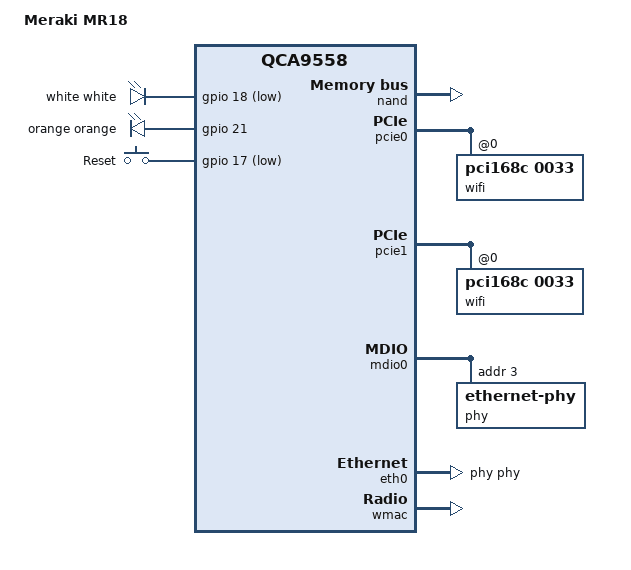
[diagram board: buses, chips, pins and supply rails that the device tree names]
// SPDX-License-Identifier: GPL-2.0-or-later OR MIT

#include "qca955x.dtsi"

#include <dt-bindings/gpio/gpio.h>
#include <dt-bindings/input/input.h>
#include <dt-bindings/leds/common.h>

/ {
	compatible = "meraki,mr18", "qca,qca9558";
	model = "Meraki MR18";

	aliases {
		label-mac-device = &eth0;
		led-boot = &white;
		led-failsafe = &orange;
		led-running = &green;
		led-upgrade = &white;
	};

	leds {
		compatible = "gpio-leds";

		white: white {
			function = LED_FUNCTION_POWER;
			color = <LED_COLOR_ID_WHITE>;
			gpios = <&gpio 18 GPIO_ACTIVE_LOW>;
		};

		orange: orange {
			function = LED_FUNCTION_POWER;
			color = <LED_COLOR_ID_ORANGE>;
			gpios = <&gpio 21 GPIO_ACTIVE_HIGH>;
			panic-indicator;
		};
	};

	uleds {
		compatible = "virtual-leds";
#if 0
		/*
		 * RGB leds are not supported by uleds driver.
		 * but this is what the definitions for a as
		 * of yet unwritten leds_nu801 would look like.
		 */

		rgbled-0 {
			function = LED_FUNCTION_POWER;
			color = <LED_COLOR_ID_RGB>;
			#address-cells = <1>;
			#size-cells = <0>;

			led@0 {
				reg = <0>;
				color = <LED_COLOR_ID_RED>;
			};

			green: led@1 {
				reg = <1>;
				color = <LED_COLOR_ID_GREEN>;
			};

			led@2 {
				reg = <2>;
				color = <LED_COLOR_ID_BLUE>;
			};
		};

#else
		red {
			color = <LED_COLOR_ID_RED>;
		};

		green: green {
			color = <LED_COLOR_ID_GREEN>;
		};

		blue {
			color = <LED_COLOR_ID_BLUE>;
		};
#endif
	};

	button {
		compatible = "gpio-keys";

		reset {
			label = "Reset";
			linux,code = <KEY_RESTART>;
			gpios = <&gpio 17 GPIO_ACTIVE_LOW>;
			debounce-interval = <60>;
		};

	};
};

&nand {
	status = "okay";

	nand-ecc-mode = "soft";
	nand-ecc-algo = "bch";
	nand-ecc-strength = <4>;
	nand-ecc-step-size = <512>;
	nand-is-boot-medium;

	partitions {
		compatible = "fixed-partitions";
		#address-cells = <1>;
		#size-cells = <1>;

		partition@0 {
			label = "nandloader";
			reg = <0x0 0x80000>;
			read-only;
		};

		partition@80000 {
			label = "kernel";
			reg = <0x80000 0x800000>;
		};

		partition@880000 {
			label = "recovery";
			reg = <0x880000 0x800000>;
		};

		partition@1080000 {
			label = "ubi";
			reg = <0x1080000 0x6f00000>;

			volumes {
				ubi-volume-board-config {
					volname = "board-config";

					nvmem-layout {
						compatible = "fixed-layout";
						#address-cells = <1>;
						#size-cells = <1>;

						macaddr_board_102: macaddr@102 {
							compatible = "mac-base";
							reg = <0x102 0x6>;
							#nvmem-cell-cells = <1>;
						};
					};
				};

				ubi-volume-caldata {
					volname = "caldata";

					nvmem-layout {
						compatible = "fixed-layout";
						#address-cells = <1>;
						#size-cells = <1>;

						cal_data_1000: cal@1000 {
							reg = <0x1000 0x440>;
						};

						cal_data_5000: cal@5000 {
							reg = <0x5000 0x440>;
						};

						cal_data_9000: cal@9000 {
							reg = <0x9000 0x440>;
						};
					};
				};
			};
		};

		partition@7fe0000 {
			/*
			 * This is not always present. And if
			 * it is, then Meraki (or contractor)
			 * used a different ecc method than
			 * the one we need for the UBI partition.
			 * Reading this causes various reading
			 * errors.
			 *
			 * As a result: Please don't convert
			 * this to nvmem-cells. Instead there's
			 * a ubi-volume "caldata" that has the
			 * necessary data.
			 */

			label = "odm-caldata";
			reg = <0x7fe0000 0x20000>;
			read-only;
		};
	};
};

&pcie0 {
	status = "okay";

	wifi@0,0 {
		compatible = "pci168c,0033";
		reg = <0x0000 0 0 0 0>;

		nvmem-cells = <&macaddr_board_102 2>, <&cal_data_5000>;
		nvmem-cell-names = "mac-address", "calibration";
	};
};

&pcie1 {
	status = "okay";

	wifi@0,0 {
		compatible = "pci168c,0033";
		reg = <0x0000 0 0 0 0>;

		nvmem-cells = <&macaddr_board_102 3>, <&cal_data_9000>;
		nvmem-cell-names = "mac-address", "calibration";
	};
};

&mdio0 {
	status = "okay";

	phy: ethernet-phy@3 {
		reg = <3>;
	};
};

&eth0 {
	status = "okay";
	pll-data = <0xa6000000 0xa0000101 0x80001313>;
	phy-handle = <&phy>;

	nvmem-cells = <&macaddr_board_102 0>;
	nvmem-cell-names = "mac-address";

	gmac-config {
		device = <&gmac>;
		rgmii-enabled = <1>;
		rxd-delay = <3>;
		rxdv-delay = <3>;
	};
};

&wmac {
	status = "okay";

	nvmem-cells = <&macaddr_board_102 1>, <&cal_data_1000>;
	nvmem-cell-names = "mac-address", "calibration";
};
